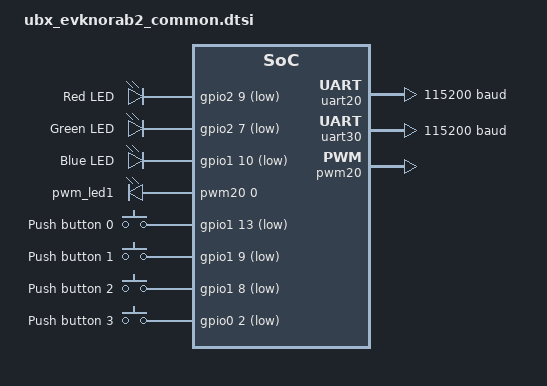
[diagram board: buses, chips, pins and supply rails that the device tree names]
/*
 * Copyright (c) 2026 u-blox AG
 *
 * SPDX-License-Identifier: Apache-2.0
 */

#include "ubx_evknorab2_nrf54l_05_10_15-pinctrl.dtsi"

/ {
	leds {
		compatible = "gpio-leds";

		led0: led_0 {
			gpios = <&gpio2 9 GPIO_ACTIVE_LOW>;
			label = "Red LED";
		};

		led1: led_1 {
			gpios = <&gpio2 7 GPIO_ACTIVE_LOW>;
			label = "Green LED";
		};

		led2: led_2 {
			gpios = <&gpio1 10 GPIO_ACTIVE_LOW>;
			label = "Blue LED";
		};
	};

	pwmleds {
		compatible = "pwm-leds";

		/*
		 * PWM signal can be exposed on GPIO pin only within same domain.
		 * There is only one domain which contains both PWM and GPIO:
		 * PWM20/21/22 and GPIO Port P1.
		 * Only LEDs connected to P1 can work with PWM, for example LED1.
		 */
		pwm_led1: pwm_led_1 {
			pwms = <&pwm20 0 PWM_MSEC(20) PWM_POLARITY_INVERTED>;
		};
	};

	buttons {
		compatible = "gpio-keys";

		button0: button_0 {
			gpios = <&gpio1 13 (GPIO_PULL_UP | GPIO_ACTIVE_LOW)>;
			label = "Push button 0";
			zephyr,code = <INPUT_KEY_0>;
		};

		button1: button_1 {
			gpios = <&gpio1 9 (GPIO_PULL_UP | GPIO_ACTIVE_LOW)>;
			label = "Push button 1";
			zephyr,code = <INPUT_KEY_1>;
		};

		button2: button_2 {
			gpios = <&gpio1 8 (GPIO_PULL_UP | GPIO_ACTIVE_LOW)>;
			label = "Push button 2";
			zephyr,code = <INPUT_KEY_2>;
		};

		button3: button_3 {
			gpios = <&gpio0 2 (GPIO_PULL_UP | GPIO_ACTIVE_LOW)>;
			label = "Push button 3";
			zephyr,code = <INPUT_KEY_3>;
		};
	};

	aliases {
		led0 = &led0;
		led1 = &led1;
		led2 = &led2;
		red-led = &led0;
		green-led = &led1;
		blue-led = &led2;
		pwm-led0 = &pwm_led1;
		sw0 = &button0;
		sw1 = &button1;
		sw2 = &button2;
		sw3 = &button3;
		watchdog0 = &wdt31;
	};
};

&uart20 {
	current-speed = <115200>;
	pinctrl-0 = <&uart20_default>;
	pinctrl-1 = <&uart20_sleep>;
	pinctrl-names = "default", "sleep";
};

&uart30 {
	current-speed = <115200>;
	pinctrl-0 = <&uart30_default>;
	pinctrl-1 = <&uart30_sleep>;
	pinctrl-names = "default", "sleep";
};

&pwm20 {
	status = "okay";
	pinctrl-0 = <&pwm20_default>;
	pinctrl-1 = <&pwm20_sleep>;
	pinctrl-names = "default", "sleep";
};
